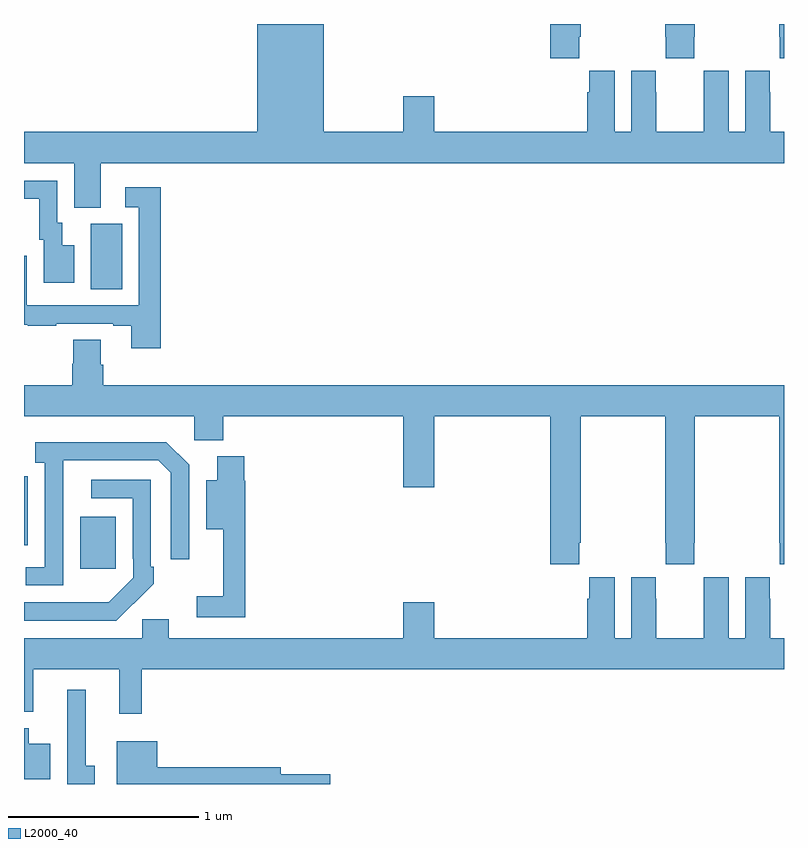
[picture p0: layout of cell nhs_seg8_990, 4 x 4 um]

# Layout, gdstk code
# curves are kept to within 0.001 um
import gdstk
lib = gdstk.Library(unit=1e-6, precision=1e-09)
def R(c, l, rs):  # rectangles x0, y0, x1, y1
    for r in rs: c.add(gdstk.rectangle(r[:2], r[2:], *l))
def P(c, l, *ps):  # polygons
    for p in ps: c.add(gdstk.Polygon(p, *l))
L2000_40 = (2000, 40)

nhs_seg8_990 = lib.new_cell('nhs_seg8_990')
R(nhs_seg8_990, L2000_40, [(175.295,1113.033,175.483,1113.307), (175.352,1114.504,175.516,1114.848)])
P(nhs_seg8_990, L2000_40, [(175,1115.168),(175.265,1115.168),(175.265,1114.933),(175.405,1114.933),(175.405,1115.168),(179,1115.168),(179,1115.332),(178.927,1115.332),(178.927,1115.54),(178.926,1115.54),(178.926,1115.653),(178.796,1115.653),(178.796,1115.332),(178.708,1115.332),(178.708,1115.653),(178.578,1115.653),(178.578,1115.54),(178.577,1115.54),(178.577,1115.332),(178.327,1115.332),(178.327,1115.54),(178.326,1115.54),(178.326,1115.653),(178.196,1115.653),(178.196,1115.332),(178.108,1115.332),(178.108,1115.653),(177.974,1115.653),(177.974,1115.54),(177.965,1115.54),(177.965,1115.332),(177.16,1115.332),(177.16,1115.521),(176.996,1115.521),(176.996,1115.332),(176.578,1115.332),(176.578,1115.9),(176.228,1115.9),(176.228,1115.332),(175,1115.332)],
  [(177.923,1115.833),(177.93,1115.833),(177.93,1115.9),(177.77,1115.9),(177.77,1115.721),(177.923,1115.721)],
  [(178.527,1115.833),(178.53,1115.833),(178.53,1115.9),(178.375,1115.9),(178.375,1115.833),(178.377,1115.833),(178.377,1115.721),(178.527,1115.721)],
  [(179,1115.9),(178.975,1115.9),(178.975,1115.833),(178.977,1115.833),(178.977,1115.721),(179,1115.721)],
  [(175.264,1114.735),(175.201,1114.735),(175.201,1114.854),(175.176,1114.854),(175.176,1115.076),(175,1115.076),(175,1114.98),(175.079,1114.98),(175.079,1114.764),(175.103,1114.764),(175.103,1114.539),(175.264,1114.539)],
  [(175.721,1115.041),(175.533,1115.041),(175.533,1114.935),(175.605,1114.935),(175.605,1114.419),(175.014,1114.419),(175.014,1114.681),(175,1114.681),(175,1114.317),(175.021,1114.317),(175.021,1114.311),(175.169,1114.311),(175.169,1114.323),(175.469,1114.323),(175.469,1114.311),(175.565,1114.311),(175.565,1114.194),(175.721,1114.194)],
  [(175.418,1114.106),(175.405,1114.106),(175.405,1114.238),(175.258,1114.238),(175.258,1114.113),(175.253,1114.113),(175.253,1114),(175,1114),(175,1113.836),(175.896,1113.836),(175.896,1113.71),(176.048,1113.71),(176.048,1113.836),(176.996,1113.836),(176.996,1113.462),(177.16,1113.462),(177.16,1113.836),(177.77,1113.836),(177.77,1113.057),(177.923,1113.057),(177.923,1113.169),(177.93,1113.169),(177.93,1113.836),(178.375,1113.836),(178.375,1113.169),(178.377,1113.169),(178.377,1113.057),(178.527,1113.057),(178.527,1113.169),(178.53,1113.169),(178.53,1113.836),(178.975,1113.836),(178.975,1113.169),(178.977,1113.169),(178.977,1113.057),(179,1113.057),(179,1114),(175.418,1114)],
  [(175.206,1113.403),(175.207,1113.603),(175.707,1113.603),(175.773,1113.537),(175.773,1113.084),(175.869,1113.084),(175.869,1113.579),(175.748,1113.7),(175.059,1113.7),(175.059,1113.59),(175.11,1113.59),(175.11,1113.042),(175.008,1113.042),(175.008,1112.946),(175.206,1112.946)],
  [(176.165,1113.495),(176.159,1113.495),(176.159,1113.625),(176.018,1113.625),(176.018,1113.499),(175.958,1113.499),(175.958,1113.242),(176.048,1113.242),(176.048,1112.887),(175.908,1112.887),(175.908,1112.778),(176.165,1112.778)],
  [(175.02,1113.41),(175.019,1113.41),(175.019,1113.519),(175,1113.519),(175,1113.156),(175.02,1113.156)],
  [(175.577,1112.851),(175.578,1112.85),(175.683,1112.955),(175.683,1113.043),(175.668,1113.043),(175.668,1113.501),(175.353,1113.501),(175.353,1113.405),(175.572,1113.405),(175.572,1113.085),(175.575,1113.085),(175.575,1112.985),(175.447,1112.857),(175,1112.856),(175,1112.76),(175.486,1112.76)],
  [(175.619,1112.504),(179,1112.504),(179,1112.668),(178.927,1112.668),(178.927,1112.876),(178.926,1112.876),(178.926,1112.989),(178.796,1112.989),(178.796,1112.668),(178.708,1112.668),(178.708,1112.989),(178.578,1112.989),(178.578,1112.876),(178.577,1112.876),(178.577,1112.668),(178.327,1112.668),(178.327,1112.876),(178.326,1112.876),(178.326,1112.989),(178.196,1112.989),(178.196,1112.668),(178.108,1112.668),(178.108,1112.989),(177.974,1112.989),(177.974,1112.876),(177.965,1112.876),(177.965,1112.668),(177.16,1112.668),(177.16,1112.857),(176.996,1112.857),(176.996,1112.668),(175.762,1112.668),(175.762,1112.766),(175.623,1112.766),(175.623,1112.668),(175,1112.668),(175,1112.279),(175.049,1112.279),(175.049,1112.504),(175.502,1112.504),(175.502,1112.271),(175.619,1112.271)],
  [(175.372,1111.996),(175.324,1111.996),(175.324,1112.395),(175.227,1112.395),(175.227,1111.9),(175.372,1111.9)],
  [(175.138,1112.113),(175.024,1112.113),(175.024,1112.194),(175,1112.194),(175,1111.925),(175.138,1111.925)],
  [(176.611,1111.952),(176.35,1111.952),(176.35,1111.988),(175.702,1111.988),(175.702,1112.125),(175.487,1112.125),(175.487,1111.9),(176.611,1111.9)])

lib.write_gds('nhs_seg8_990.gds')
